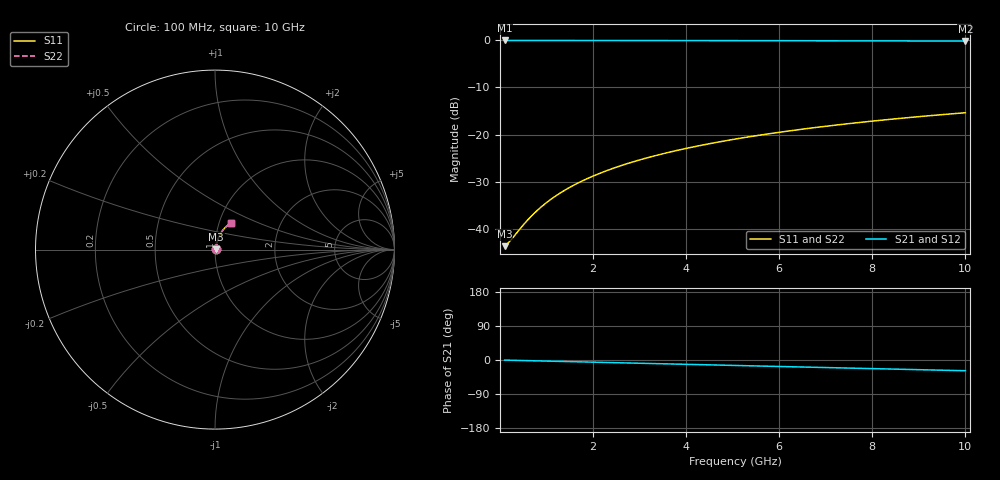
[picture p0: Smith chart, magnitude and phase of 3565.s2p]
# Hz S RI R 50.00
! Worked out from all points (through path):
!   100 points, 100 MHz to 10 GHz, reference 50 ohm
!   highest |S21| = -0.06 dB at 100 MHz (marker M1); lowest = -0.2 dB at 10 GHz (marker M2)
!   group delay of S21, straight-line fit = 7.88 ps
!   lowest |S11| = -43.6 dB at 100 MHz (marker M3), VSWR 1.01, Z = 50.6 + j0.179 ohm
!   |S11| at or under -10 dB: start of sweep to end of sweep
!   |S22| runs from -43.6 to -15.4 dB; largest |S21 - S12| = 0
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1e8  0.00637 0.00176  0.9936 -0.00496  0.9936 -0.00496  0.00637 0.00176
2e8  0.00643 0.00353  0.9935 -0.00991  0.9935 -0.00991  0.00643 0.00353
5e8  0.00669 0.00881  0.9932 -0.0248  0.9932 -0.0248  0.00669 0.00881
6e8  0.00681 0.0106  0.993 -0.0297  0.993 -0.0297  0.00681 0.0106
7e8  0.00694 0.0123  0.9928 -0.0347  0.9928 -0.0347  0.00694 0.0123
9e8  0.00725 0.0158  0.9923 -0.0446  0.9923 -0.0446  0.00725 0.0158
1.1e9  0.00762 0.0194  0.9917 -0.0545  0.9917 -0.0545  0.00762 0.0194
1.3e9  0.00807 0.0228  0.991 -0.0643  0.991 -0.0643  0.00807 0.0228
1.5e9  0.00858 0.0263  0.9902 -0.0742  0.9902 -0.0742  0.00858 0.0263
1.8e9  0.00947 0.0315  0.9888 -0.089  0.9888 -0.089  0.00947 0.0315
2.1e9  0.0105 0.0367  0.9872 -0.1038  0.9872 -0.1038  0.0105 0.0367
2.5e9  0.0122 0.0436  0.9846 -0.1234  0.9846 -0.1234  0.0122 0.0436
2.9e9  0.0141 0.0503  0.9816 -0.1429  0.9816 -0.1429  0.0141 0.0503
3.4e9  0.0168 0.0587  0.9772 -0.1672  0.9772 -0.1672  0.0168 0.0587
3.8e9  0.0193 0.0652  0.9732 -0.1865  0.9732 -0.1865  0.0193 0.0652
4.2e9  0.0221 0.0717  0.9688 -0.2057  0.9688 -0.2057  0.0221 0.0717
5.1e9  0.0292 0.0858  0.9573 -0.2484  0.9573 -0.2484  0.0292 0.0858
5.9e9  0.0365 0.0976  0.9454 -0.2857  0.9454 -0.2857  0.0365 0.0976
6.7e9  0.0447 0.1089  0.932 -0.3223  0.932 -0.3223  0.0447 0.1089
7.5e9  0.0538 0.1194  0.917 -0.3581  0.917 -0.3581  0.0538 0.1194
8.4e9  0.0649 0.1303  0.8984 -0.3974  0.8984 -0.3974  0.0649 0.1303
1e10  0.0868 0.147  0.8611 -0.4643  0.8611 -0.4643  0.0868 0.147
